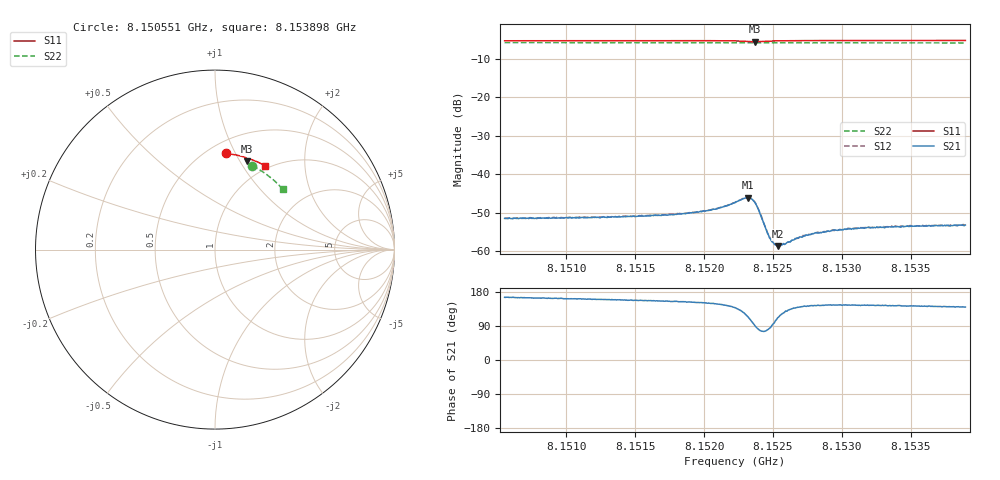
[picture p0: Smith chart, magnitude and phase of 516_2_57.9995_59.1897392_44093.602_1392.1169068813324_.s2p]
#  HZ  S  RI  R  50.00
! Rohde & Schwarz Vector Network Analyzer
! Rohde-Schwarz,ZNB20-2Port,1311601062101988,3.16
! Created: UTC 3/21/2024, 1:13:23 AM
! freq[Hz]  re:S11  im:S11  re:S21  im:S21  re:S12  im:S12  re:S22  im:S22
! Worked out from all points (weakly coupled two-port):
!   401 points, 8.150551 GHz to 8.153898 GHz, reference 50 ohm
!   highest |S21| = -46.10 dB at 8.152317 GHz (marker M1); lowest = -58.7 dB at 8.152534 GHz (marker M2)
!   lowest |S11| = -5.6 dB at 8.152367 GHz (marker M3), VSWR 3.20, Z = 39.4 + j53.5 ohm
!   |S11| at or under -10 dB: nowhere
!   |S22| runs from -5.9 to -5.8 dB; largest |S21 - S12| = 0.00012
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8.1505511e9  0.0606 0.5354  -0.00258 0.000672  -0.00259 0.000725  0.2088 0.4653
8.1511118e9  0.0995 0.5305  -0.00259 0.000907  -0.00259 0.000936  0.2405 0.4489
8.1516725e9  0.1384 0.5224  -0.00267 0.0012  -0.00265 0.00126  0.2712 0.4301
8.1518482e9  0.1507 0.5191  -0.00276 0.00136  -0.00272 0.00142  0.2804 0.4238
8.1520239e9  0.1638 0.5148  -0.00291 0.00169  -0.00293 0.0017  0.2895 0.4173
8.1520993e9  0.1695 0.5123  -0.00304 0.00192  -0.00301 0.00199  0.2936 0.4143
8.1522248e9  0.1795 0.5058  -0.0032 0.00286  -0.00311 0.00293  0.2999 0.4094
8.1522917e9  0.1828 0.4985  -0.00269 0.00403  -0.00266 0.00411  0.3031 0.4065
8.1523168e9  0.1819 0.4952  -0.00207 0.0045  -0.00204 0.00453  0.3042 0.4056
8.1523419e9  0.1794 0.4929  -0.00113 0.00467  -0.00111 0.00473  0.3052 0.4046
8.152367e9  0.176 0.493  -0.000151 0.00435  -6.45e-05 0.00437  0.3063 0.4036
8.1524005e9  0.1736 0.4967  0.000593 0.00323  0.000661 0.00327  0.3079 0.4025
8.1524758e9  0.1791 0.5039  0.000161 0.00148  0.000179 0.00153  0.3118 0.4
8.1525009e9  0.1816 0.5049  -0.000118 0.00129  -9.81e-05 0.00129  0.3131 0.3989
8.1525344e9  0.1851 0.5051  -0.000423 0.00108  -0.000364 0.00111  0.3148 0.3974
8.1525763e9  0.189 0.505  -0.000684 0.00102  -0.000693 0.00105  0.3168 0.3959
8.152685e9  0.1981 0.503  -0.00112 0.000965  -0.00111 0.000968  0.3222 0.3914
8.1527855e9  0.2058 0.5008  -0.00136 0.001  -0.00133 0.00103  0.327 0.3872
8.1529445e9  0.2169 0.4968  -0.00156 0.00108  -0.00149 0.0011  0.3345 0.3806
8.1530616e9  0.2247 0.4935  -0.0016 0.00114  -0.00161 0.00115  0.3399 0.3753
8.1533461e9  0.2432 0.4854  -0.00167 0.00123  -0.00167 0.00123  0.3528 0.3627
8.1538985e9  0.2774 0.4677  -0.00167 0.00141  -0.00166 0.00143  0.3763 0.337
